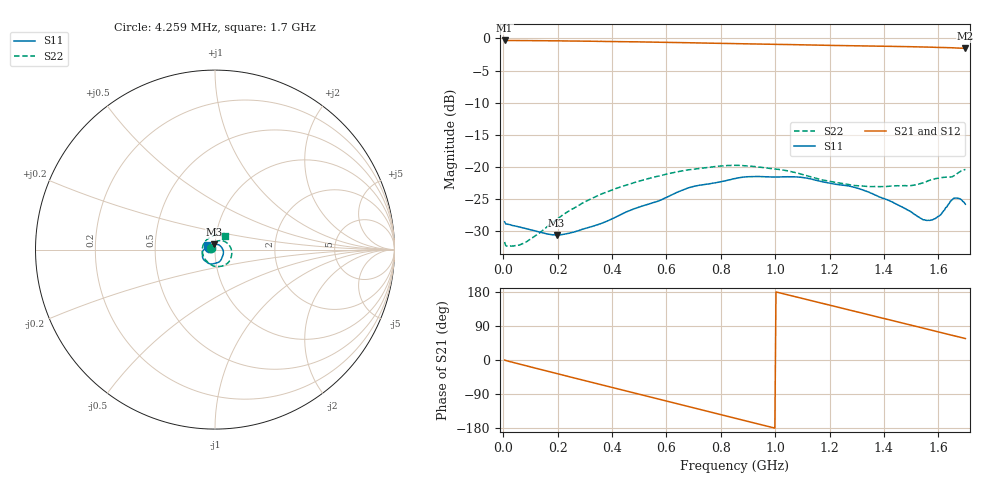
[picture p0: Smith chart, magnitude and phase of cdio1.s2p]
! ZVRE, 3.52
! symbol freq-unit parameter-type data-format keyword impedance-ohm
#  HZ  S  RI  R  50
! freq  reS11  imS11  reS21  imS21  reS12  imS12  reS22  imS22
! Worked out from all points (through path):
!   400 points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, 4.259 MHz to 1.7 GHz, reference 50 ohm
!   highest |S21| = -0.32 dB at 4.259 MHz (marker M1); lowest = -1.5 dB at 1.7 GHz (marker M2)
!   group delay of S21, straight-line fit = 495 ps
!   lowest |S11| = -30.6 dB at 195.5 MHz (marker M3), VSWR 1.06, Z = 49.5 + j2.9 ohm
!   |S11| at or under -10 dB: start of sweep to end of sweep
!   |S22| runs from -32.3 to -19.7 dB; largest |S21 - S12| = 0.02
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4258978  -0.036 0.0106  0.9642 -0.00348  0.9629 -0.00338  -0.0239 0.0108
1.275893e7  -0.0354 0.00677  0.9632 -0.0359  0.9619 -0.036  -0.0234 0.0068
6.800864e7  -0.0296 0.0165  0.9399 -0.2068  0.9389 -0.2062  -0.0184 0.0173
1.95508e8  -0.00454 0.0293  0.7781 -0.5572  0.7778 -0.5568  -0.00165 0.0392
2.890075e8  0.0177 0.0276  0.5784 -0.7568  0.5795 -0.757  0.0185 0.0489
3.570071e8  0.0313 0.0185  0.4026 -0.8596  0.4033 -0.8594  0.0354 0.0501
4.292567e8  0.0423 0.00328  0.1979 -0.9232  0.1986 -0.9239  0.0535 0.0451
4.972564e8  0.047 -0.0132  -0.00313 -0.94  -0.00233 -0.9399  0.0691 0.0352
5.69506e8  0.0434 -0.0329  -0.212 -0.9109  -0.2113 -0.9107  0.0831 0.0181
7.055053e8  0.0254 -0.0666  -0.5623 -0.7327  -0.5619 -0.7335  0.0932 -0.0264
8.542545e8  -0.0162 -0.08  -0.8189 -0.3992  -0.8192 -0.4003  0.0708 -0.0753
9.265041e8  -0.0346 -0.0771  -0.8814 -0.2058  -0.881 -0.2071  0.0472 -0.0891
9.945037e8  -0.0508 -0.0666  -0.9 -0.0166  -0.8998 -0.0198  0.0226 -0.0943
1.066753e9  -0.0645 -0.054  -0.8757 0.1809  -0.8765 0.1799  -0.00759 -0.0913
1.134753e9  -0.0696 -0.0408  -0.8136 0.3569  -0.8141 0.3553  -0.0339 -0.0765
1.279252e9  -0.07 -0.0105  -0.574 0.6634  -0.5742 0.6648  -0.0684 -0.0244
1.419501e9  -0.0546 0.00689  -0.2415 0.8338  -0.2444 0.8345  -0.0611 0.0364
1.487501e9  -0.0452 0.0106  -0.064 0.8609  -0.0631 0.8613  -0.0396 0.0598
1.559751e9  -0.035 0.016  0.1287 0.8469  0.1232 0.848  -0.012 0.0768
1.6065e9  -0.0353 0.0232  0.2464 0.8141  0.2454 0.8263  0.0126 0.0815
1.6575e9  -0.047 0.0328  0.3718 0.7582  0.3887 0.768  0.034 0.0786
1.7e9  -0.0436 0.0274  0.4626 0.7007  0.4662 0.6915  0.0578 0.0765
